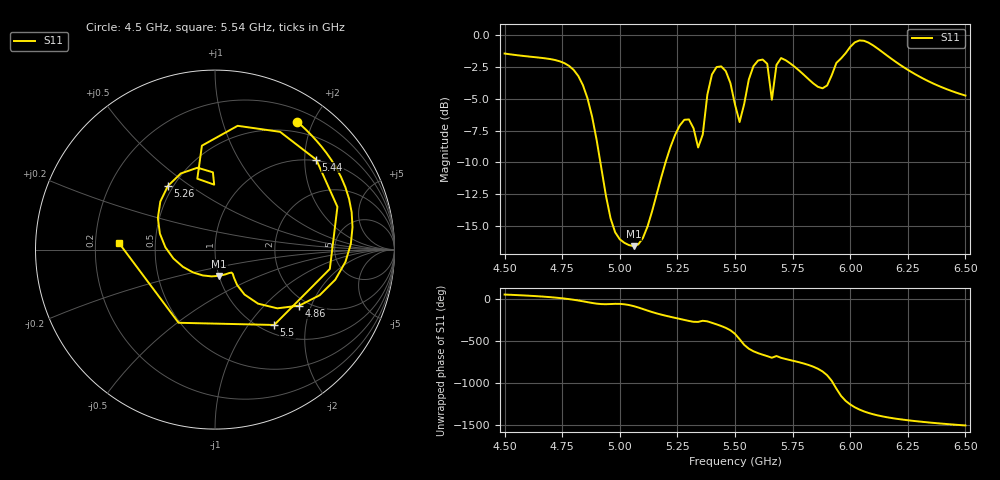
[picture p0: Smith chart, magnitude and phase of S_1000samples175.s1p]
! TOUCHSTONE file generated by CST MICROWAVE STUDIO
! Date and time: Thu Oct 27 06:24:16 2022
! Project name: L.cst
! Parameters = {Di=1.27; Epsilon_r=1.56; InnerDiameter=1.27; Length=2; Lf=10; Lg=60; OuterConductorThickness=0.2921; OuterDiameter=3.6; Wf=3; Wp=41.2; de=1.5; df=6.8; g=0.8; gx=2.47413; gy=1.07994; h=2.34; hf=1.524; px=10.8048; py=14.6115; w=9.7; wx=8.33067; wy=13.5316}
! Header version: 2018
! Port assignment regex: !\s*Touchstone port\s*([0-9]+)\s*=\s*(CST MWS port|CST DS port)\s*([0-9]+|Zmin|Zmax)\s*\(\"(.*)\"\)(\s*mode\s*([0-9]+))?.*
! Touchstone port assignment:
! Touchstone port 1 = CST MWS port 1 ("")
# GHz S DB R 50
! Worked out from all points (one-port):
!   101 points, 4.5 GHz to 6.5 GHz, reference 50 ohm
!   lowest |S11| = -16.6 dB at 5.06 GHz (marker M1), VSWR 1.35, Z = 50.1 - j15 ohm
!   |S11| at or under -10 dB: 4.916 GHz to 5.199 GHz (282.8 MHz wide, 5.59 % of centre)
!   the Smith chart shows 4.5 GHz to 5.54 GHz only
!   S11 on the Smith chart (normalised r, x): 4.5 GHz: 0.35, +1.78; 4.86 GHz: 1.80, -1.65; 5.26 GHz: 0.47, +0.41; 5.44 GHz: 0.98, +2.27; 5.5 GHz: 1.14, -1.34; 5.54 GHz: 0.30, +0.03
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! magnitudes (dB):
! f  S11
! 4.5 GHz  -1.4
! 4.76 GHz  -2.2
! 4.86 GHz  -5.0
! 4.96 GHz  -14.4
! 5 GHz  -16.1
! 5.06 GHz  -16.6
! 5.12 GHz  -15.1
! 5.26 GHz  -7.1
! 5.3 GHz  -6.6
! 5.34 GHz  -8.8
! 5.36 GHz  -7.8
! 5.4 GHz  -3.1
! 5.44 GHz  -2.4
! 5.5 GHz  -5.5
! 5.52 GHz  -6.8
! 5.54 GHz  -5.4
! 5.56 GHz  -3.5
! 5.6 GHz  -2.0
! 5.64 GHz  -2.2
! 5.66 GHz  -5.1
! 5.68 GHz  -2.3
! 5.7 GHz  -1.8
! 5.76 GHz  -2.5
! 5.88 GHz  -4.2
! 6 GHz  -0.9
! 6.06 GHz  -0.4
! 6.26 GHz  -2.8
! 6.5 GHz  -4.7
